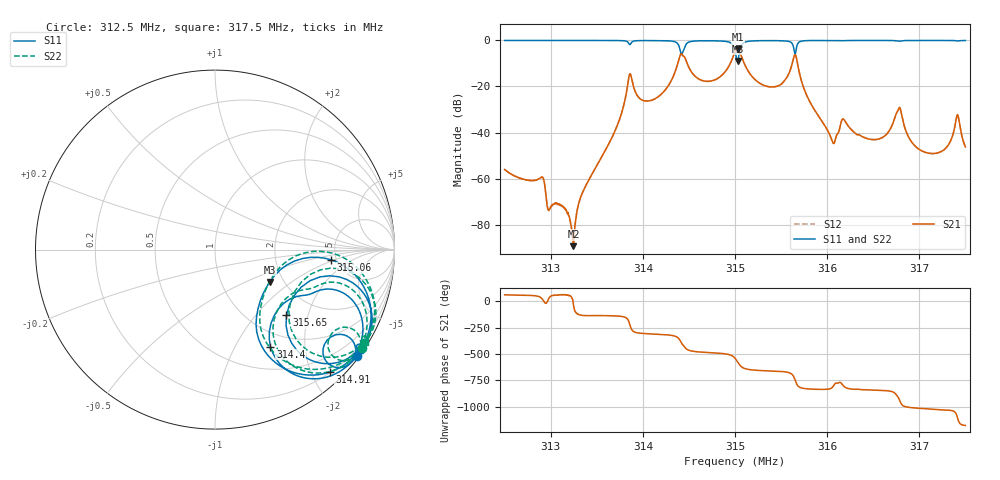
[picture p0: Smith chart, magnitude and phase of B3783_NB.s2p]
! Matrix data file written by TouchstoneData, EPCOS AG
! FILENAME: "B3783_NB.s2p"
! COMMENT: "PCB=QCC8B 2/5 UM; PORTEX1 91PS; PORTEX2 189P"
! INFO: nport=2, nfreq=1601
! DATE: "Tue Aug 21 10:48:49 2007"
! USER: "Thomas Telgmann"
! port | pin | signal
!  1  |  2  |  input
!  2  |  5  |  output
# MHZ S MA R 50
! freq  magS11 angS11  magS21 angS21  magS12 angS12  magS22 angS22
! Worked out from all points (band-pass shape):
!   1601 points, 312.5 MHz to 317.5 MHz, reference 50 ohm
!   highest |S21| = -3.87 dB at 315.03 MHz (marker M1); lowest = -89.1 dB at 313.25 MHz (marker M2)
!   |S21| within 3 dB of the highest: 314.4013 MHz to 314.4373 MHz (35.98 kHz wide, 0.0114 % of centre); 314.9818 MHz to 315.0696 MHz (87.73 kHz wide, 0.0278 % of centre) (the widest 2 of 3)
!   lowest |S11| = -9.0 dB at 315.03 MHz (marker M3), VSWR 2.10, Z = 84.6 - j35 ohm
!   |S11| at or under -10 dB: nowhere
!   |S22| runs from -9.0 to -0.1 dB; largest |S21 - S12| = 0.0012
!   S11 on the Smith chart (normalised r, x): 312.5 MHz: 0.05, -2.99; 314.4 MHz: 0.80, -1.41; 314.91 MHz: 0.21, -2.29; 315.06 MHz: 4.51, -0.88; 315.65 MHz: 1.43, -1.48; 317.5 MHz: 0.08, -3.20
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312.5  0.9891 -36.9  0.001609 61.1  0.0016 61.5  0.9877 -33.8
312.9031  0.9881 -37.5  0.001093 26.3  0.001095 26.5  0.987 -34.3
312.9812  0.9885 -37.5  0.0002093 29.3  0.0002084 29.0  0.9873 -34.4
313.2469  0.9883 -38.0  3.513e-05 -32.3  4.165e-05 -36.2  0.987 -34.9
313.3344  0.9883 -38.2  0.000447 -133.1  0.0004435 -133.1  0.9869 -35.1
313.8562  0.8064 -40.9  0.1837 145.2  0.1833 145.3  0.8047 -37.9
314.1687  0.9814 -41.4  0.06041 46.7  0.06027 46.8  0.9798 -38.3
314.4031  0.6229 -60.2  0.4642 -10.1  0.4636 -10.1  0.6156 -57.2
314.9125  0.9346 -47.0  0.2349 -141.7  0.2345 -141.6  0.9324 -43.8
315  0.5954 -64.2  0.5634 179.3  0.5627 179.4  0.5904 -61.1
315.0281  0.3541 -30.7  0.6392 145.0  0.6384 145.0  0.3531 -26.8
315.0312  0.3616 -23.8  0.6402 141.0  0.6394 141.0  0.3615 -19.8
315.0562  0.6486 -5.0  0.5358 109.8  0.5347 109.9  0.6509 -1.7
315.3844  0.9807 -33.0  0.09783 58.3  0.0976 58.4  0.9801 -29.9
315.6469  0.541 -42.6  0.4789 -15.4  0.4782 -15.3  0.5367 -39.9
315.8344  0.9857 -29.9  0.03878 -113.9  0.03869 -113.8  0.985 -26.7
316.0656  0.9859 -32.8  0.005944 -87.2  0.005921 -86.9  0.985 -29.6
316.6687  0.9874 -34.6  0.01063 -130.4  0.0106 -130.4  0.9863 -31.4
316.7812  0.9538 -34.3  0.03474 151.4  0.03465 151.5  0.9544 -31.1
317.1812  0.9872 -34.7  0.003587 52.5  0.003576 52.7  0.9859 -31.5
317.4156  0.9631 -34.9  0.0246 -29.0  0.02453 -28.8  0.9617 -31.7
317.5  0.9852 -34.7  0.004909 -98.0  0.004899 -98.0  0.9829 -31.5
